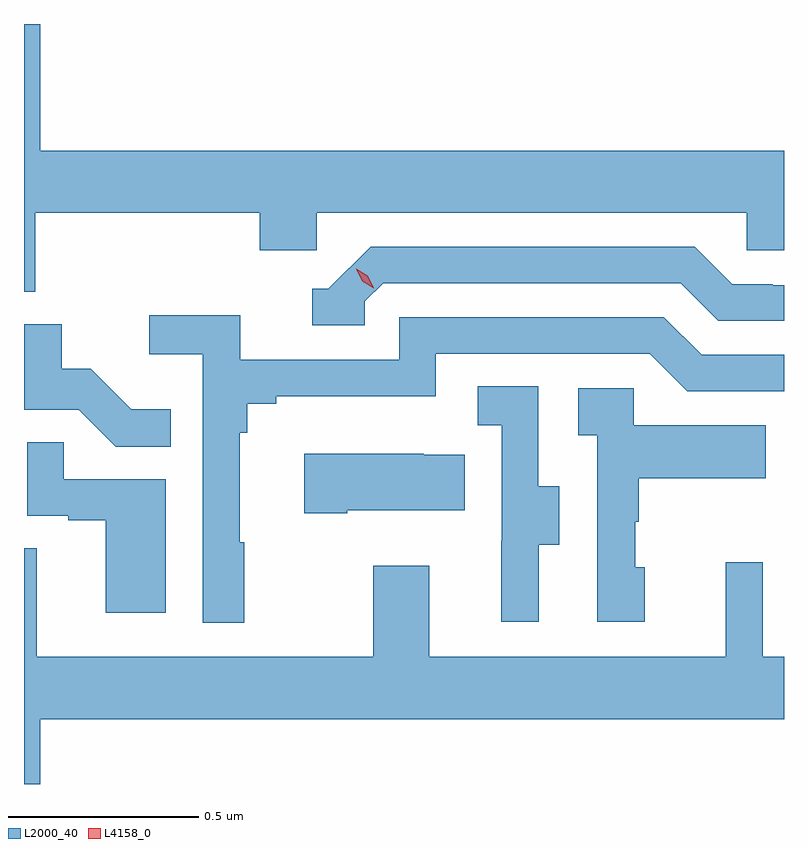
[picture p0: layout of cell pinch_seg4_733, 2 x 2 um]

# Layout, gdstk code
import gdstk
lib = gdstk.Library(unit=1e-6, precision=1e-09)
def P(c, l, *ps):  # polygons
    for p in ps: c.add(gdstk.Polygon(p, *l))
L2000_40 = (2000, 40)
L4158_0 = (4158, 0)

pinch_seg4_733 = lib.new_cell('pinch_seg4_733')
P(pinch_seg4_733, L2000_40, [(836.486,820.796),(837.077,820.796),(837.077,820.698),(837.228,820.698),(837.228,820.796),(838.359,820.796),(838.359,820.698),(838.457,820.698),(838.457,820.96),(836.5,820.96),(836.5,821.293),(836.457,821.293),(836.457,820.588),(836.486,820.588)],
  [(837.354,820.563),(837.402,820.611),(838.185,820.611),(838.284,820.512),(838.457,820.512),(838.457,820.605),(838.428,820.605),(838.428,820.608),(838.321,820.608),(838.222,820.707),(837.369,820.707),(837.258,820.596),(837.215,820.596),(837.215,820.5),(837.354,820.5)],
  [(837.037,819.929),(837.025,819.929),(837.025,820.217),(837.044,820.217),(837.044,820.294),(837.121,820.294),(837.121,820.313),(837.54,820.313),(837.54,820.425),(838.104,820.425),(838.203,820.326),(838.457,820.326),(838.457,820.422),(838.24,820.422),(838.141,820.521),(837.444,820.521),(837.444,820.41),(837.026,820.41),(837.026,820.526),(836.787,820.526),(836.787,820.424),(836.928,820.424),(836.928,819.717),(837.037,819.717)],
  [(836.843,820.279),(836.739,820.279),(836.632,820.386),(836.556,820.386),(836.556,820.503),(836.457,820.503),(836.457,820.278),(836.601,820.278),(836.699,820.18),(836.843,820.18)],
  [(837.811,819.922),(837.865,819.922),(837.865,820.077),(837.81,820.077),(837.81,820.34),(837.651,820.34),(837.651,820.237),(837.714,820.237),(837.714,819.933),(837.713,819.933),(837.713,819.72),(837.811,819.72)],
  [(838.09,819.864),(838.065,819.864),(838.065,819.983),(838.075,819.983),(838.075,820.097),(838.409,820.097),(838.409,820.237),(838.062,820.237),(838.062,820.335),(837.915,820.335),(837.915,820.211),(837.966,820.211),(837.966,819.72),(838.09,819.72)],
  [(836.83,820.095),(836.561,820.095),(836.561,820.193),(836.466,820.193),(836.466,819.999),(836.573,819.999),(836.573,819.987),(836.672,819.987),(836.672,819.744),(836.83,819.744)],
  [(837.307,820.013),(837.617,820.013),(837.617,820.159),(837.509,820.159),(837.509,820.162),(837.195,820.162),(837.195,820.006),(837.307,820.006)],
  [(836.457,819.914),(836.457,819.293),(836.5,819.293),(836.5,819.464),(838.457,819.464),(838.457,819.628),(838.401,819.628),(838.401,819.877),(838.304,819.877),(838.304,819.628),(837.523,819.628),(837.523,819.868),(837.376,819.868),(837.376,819.628),(836.491,819.628),(836.491,819.914)])
P(pinch_seg4_733, L4158_0, [(837.378,820.597),(837.347,820.616),(837.331,820.649),(837.331,820.649),(837.331,820.649),(837.362,820.63),(837.378,820.597),(837.378,820.597)])

lib.write_gds('pinch_seg4_733.gds')
